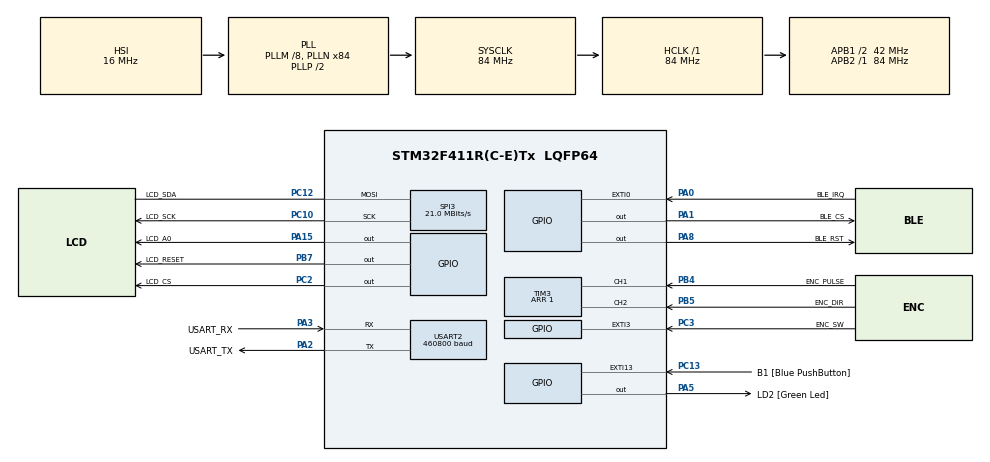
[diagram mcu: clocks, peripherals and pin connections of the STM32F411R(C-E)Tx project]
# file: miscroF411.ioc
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Dma.Request0=SPI3_TX
Dma.Request1=USART2_RX
Dma.Request2=USART2_TX
Dma.SPI3_TX.0.Direction=DMA_MEMORY_TO_PERIPH
Dma.SPI3_TX.0.FIFOMode=DMA_FIFOMODE_DISABLE
Dma.SPI3_TX.0.Instance=DMA1_Stream5
Dma.SPI3_TX.0.MemDataAlignment=DMA_MDATAALIGN_HALFWORD
Dma.SPI3_TX.0.MemInc=DMA_MINC_DISABLE
Dma.SPI3_TX.0.Mode=DMA_NORMAL
Dma.SPI3_TX.0.PeriphDataAlignment=DMA_PDATAALIGN_HALFWORD
Dma.SPI3_TX.0.PeriphInc=DMA_PINC_DISABLE
Dma.SPI3_TX.0.Priority=DMA_PRIORITY_MEDIUM
Dma.USART2_RX.1.Direction=DMA_PERIPH_TO_MEMORY
Dma.USART2_RX.1.FIFOMode=DMA_FIFOMODE_DISABLE
Dma.USART2_RX.1.Instance=DMA1_Stream7
Dma.USART2_RX.1.MemDataAlignment=DMA_MDATAALIGN_BYTE
Dma.USART2_RX.1.MemInc=DMA_MINC_ENABLE
Dma.USART2_RX.1.Mode=DMA_NORMAL
Dma.USART2_RX.1.PeriphDataAlignment=DMA_PDATAALIGN_BYTE
Dma.USART2_RX.1.PeriphInc=DMA_PINC_DISABLE
Dma.USART2_RX.1.Priority=DMA_PRIORITY_LOW
Dma.USART2_TX.2.Direction=DMA_MEMORY_TO_PERIPH
Dma.USART2_TX.2.FIFOMode=DMA_FIFOMODE_DISABLE
Dma.USART2_TX.2.Instance=DMA1_Stream6
Dma.USART2_TX.2.MemDataAlignment=DMA_MDATAALIGN_BYTE
Dma.USART2_TX.2.MemInc=DMA_MINC_ENABLE
Dma.USART2_TX.2.Mode=DMA_NORMAL
Dma.USART2_TX.2.PeriphDataAlignment=DMA_PDATAALIGN_BYTE
Dma.USART2_TX.2.PeriphInc=DMA_PINC_DISABLE
Dma.USART2_TX.2.Priority=DMA_PRIORITY_LOW
Mcu.Family=STM32F4
Mcu.Name=STM32F411R(C-E)Tx
Mcu.Package=LQFP64
NVIC.DMA1_Stream5_IRQn=true\:0\:0\:false\:false\:true\:true
NVIC.DMA1_Stream6_IRQn=true\:0\:0\:false\:false\:true\:true
NVIC.DMA1_Stream7_IRQn=true\:0\:0\:false\:false\:true\:true
NVIC.EXTI3_IRQn=true\:0\:0\:false\:true\:true\:3\:true
NVIC.PriorityGroup=NVIC_PRIORITYGROUP_0
NVIC.TIM3_IRQn=true\:0\:0\:false\:false\:true\:true
NVIC.TIM4_IRQn=true\:0\:0\:false\:true\:true\:2\:true
NVIC.USART2_IRQn=true\:0\:0\:false\:false\:true\:true
PA0-WKUP.GPIO_Label=BLE_IRQ
PA0-WKUP.Signal=GPXTI0
PA1.GPIO_Label=BLE_CS
PA1.Signal=GPIO_Output
PA13.GPIO_Label=TMS
PA13.Signal=SYS_JTMS-SWDIO
PA14.GPIO_Label=TCK
PA14.Signal=SYS_JTCK-SWCLK
PA15.GPIO_Label=LCD_A0
PA15.GPIO_Speed=GPIO_SPEED_FREQ_HIGH
PA15.PinState=GPIO_PIN_RESET
PA15.Signal=GPIO_Output
PA2.GPIO_Label=USART_TX
PA2.Mode=Asynchronous
PA2.Signal=USART2_TX
PA3.GPIO_Label=USART_RX
PA3.Mode=Asynchronous
PA3.Signal=USART2_RX
PA5.GPIO_Label=LD2 [Green Led]
PA5.GPIO_Speed=GPIO_SPEED_FREQ_HIGH
PA5.PinState=GPIO_PIN_RESET
PA5.Signal=GPIO_Output
PA6.GPIO_Label=BLE_MISO
PA6.Signal=SPI1_MISO
PA7.GPIO_Label=BLE_MOSI
PA7.Signal=SPI1_MOSI
PA8.GPIO_Label=BLE_RST
PA8.Signal=GPIO_Output
PB3.GPIO_Label=BLE_SCK
PB3.Signal=SPI1_SCK
PB4.GPIO_Label=ENC_PULSE
PB4.GPIO_PuPd=GPIO_PULLUP
PB4.GPIO_Speed=GPIO_SPEED_FREQ_HIGH
PB4.Signal=S_TIM3_CH1
PB5.GPIO_Label=ENC_DIR
PB5.GPIO_PuPd=GPIO_PULLUP
PB5.GPIO_Speed=GPIO_SPEED_FREQ_HIGH
PB5.Signal=S_TIM3_CH2
PB7.GPIO_Label=LCD_RESET
PB7.GPIO_PuPd=GPIO_PULLUP
PB7.GPIO_Speed=GPIO_SPEED_FREQ_HIGH
PB7.Signal=GPIO_Output
PC10.GPIO_Label=LCD_SCK
PC10.GPIO_Speed=GPIO_SPEED_FREQ_HIGH
PC10.Mode=Simplex_Bidirectional_Master
PC10.Signal=SPI3_SCK
PC12.GPIO_Label=LCD_SDA
PC12.GPIO_Speed=GPIO_SPEED_FREQ_HIGH
PC12.Mode=Simplex_Bidirectional_Master
PC12.Signal=SPI3_MOSI
PC13-ANTI_TAMP.GPIO_Label=B1 [Blue PushButton]
PC13-ANTI_TAMP.GPIO_ModeDefaultEXTI=GPIO_MODE_IT_FALLING
PC13-ANTI_TAMP.Signal=GPXTI13
PC14-OSC32_IN.Mode=LSE-External-Oscillator
PC14-OSC32_IN.Signal=RCC_OSC32_IN
PC15-OSC32_OUT.Mode=LSE-External-Oscillator
PC15-OSC32_OUT.Signal=RCC_OSC32_OUT
PC2.GPIO_Label=LCD_CS
PC2.GPIO_PuPd=GPIO_PULLUP
PC2.GPIO_Speed=GPIO_SPEED_FREQ_HIGH
PC2.Signal=GPIO_Output
PC3.GPIO_Label=ENC_SW
PC3.GPIO_ModeDefaultEXTI=GPIO_MODE_IT_RISING
PC3.GPIO_PuPd=GPIO_PULLUP
PC3.Signal=GPXTI3
PH0\ -\ OSC_IN.Signal=RCC_OSC_IN
PH1\ -\ OSC_OUT.Signal=RCC_OSC_OUT
ProjectManager.HeapSize=0x200
ProjectManager.StackSize=0x400
ProjectManager.TargetToolchain=SW4STM32
RCC.48MHZClocksFreq_Value=42000000
RCC.AHBFreq_Value=84000000
RCC.APB1CLKDivider=RCC_HCLK_DIV2
RCC.APB1Freq_Value=42000000
RCC.APB1TimFreq_Value=84000000
RCC.APB2Freq_Value=84000000
RCC.APB2TimFreq_Value=84000000
RCC.CortexFreq_Value=84000000
RCC.FLatency-AdvancedSettings=FLASH_LATENCY_2
RCC.HCLKFreq_Value=84000000
RCC.HSE_VALUE=8000000
RCC.HSI_VALUE=16000000
RCC.PLLM=8
RCC.PLLN=84
RCC.SYSCLKFreq_VALUE=84000000
RCC.SYSCLKSource=RCC_SYSCLKSOURCE_PLLCLK
RCC.VCOOutputFreq_Value=168000000
SH.S_TIM3_CH1.0=TIM3_CH1,Encoder_Interface
SH.S_TIM3_CH2.0=TIM3_CH2,Encoder_Interface
SPI3.BaudRatePrescaler=SPI_BAUDRATEPRESCALER_2
SPI3.CalculateBaudRate=21.0 MBits/s
SPI3.Direction=SPI_DIRECTION_1LINE
SPI3.Mode=SPI_MODE_MASTER
SPI3.VirtualType=VM_MASTER
TIM3.ClockDivision=TIM_CLOCKDIVISION_DIV2
TIM3.IC1Polarity=TIM_ICPOLARITY_FALLING
TIM3.IC2Polarity=TIM_ICPOLARITY_FALLING
TIM3.Period=1
TIM4.ClockDivision=TIM_CLOCKDIVISION_DIV2
TIM4.Period=1000
TIM4.Prescaler=42000
USART2.BaudRate=460800
USART2.VirtualMode=VM_ASYNC
VP_TIM4_VS_ClockSourceINT.Mode=Internal
board=NUCLEO-F411RE

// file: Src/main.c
/**
  ******************************************************************************
  * File Name          : main.c
  * Description        : Main program body
  ******************************************************************************
  ** This notice applies to any and all portions of this file
  * that are not between comment pairs USER CODE BEGIN and
  * USER CODE END. Other portions of this file, whether
  * inserted by the user or by software development tools
  * are owned by their respective copyright owners.
  *
  * COPYRIGHT(c) 2017 STMicroelectronics
  *
  * Redistribution and use in source and binary forms, with or without modification,
  * are permitted provided that the following conditions are met:
  *   1. Redistributions of source code must retain the above copyright notice,
  *      this list of conditions and the following disclaimer.
  *   2. Redistributions in binary form must reproduce the above copyright notice,
  *      this list of conditions and the following disclaimer in the documentation
  *      and/or other materials provided with the distribution.
  *   3. Neither the name of STMicroelectronics nor the names of its contributors
  *      may be used to endorse or promote products derived from this software
  *      without specific prior written permission.
  *
  * THIS SOFTWARE IS PROVIDED BY THE COPYRIGHT HOLDERS AND CONTRIBUTORS "AS IS"
  * AND ANY EXPRESS OR IMPLIED WARRANTIES, INCLUDING, BUT NOT LIMITED TO, THE
  * IMPLIED WARRANTIES OF MERCHANTABILITY AND FITNESS FOR A PARTICULAR PURPOSE ARE
  * DISCLAIMED. IN NO EVENT SHALL THE COPYRIGHT HOLDER OR CONTRIBUTORS BE LIABLE
  * FOR ANY DIRECT, INDIRECT, INCIDENTAL, SPECIAL, EXEMPLARY, OR CONSEQUENTIAL
  * DAMAGES (INCLUDING, BUT NOT LIMITED TO, PROCUREMENT OF SUBSTITUTE GOODS OR
  * SERVICES; LOSS OF USE, DATA, OR PROFITS; OR BUSINESS INTERRUPTION) HOWEVER
  * CAUSED AND ON ANY THEORY OF LIABILITY, WHETHER IN CONTRACT, STRICT LIABILITY,
  * OR TORT (INCLUDING NEGLIGENCE OR OTHERWISE) ARISING IN ANY WAY OUT OF THE USE
  * OF THIS SOFTWARE, EVEN IF ADVISED OF THE POSSIBILITY OF SUCH DAMAGE.
  *
  ******************************************************************************
  */
#include "main.h"
#include "stm32f4xx_hal.h"
#include "dma.h"
#include "spi.h"
#include "tim.h"
#include "usart.h"
#include "gpio.h"

/* USER CODE BEGIN Includes */
#include "st7735.h"
/* USER CODE END Includes */

/* USER CODE BEGIN PV */
/* Private variables ---------------------------------------------------------*/

/* USER CODE END PV */

void SystemClock_Config(void);
static void MX_NVIC_Init(void);

/* USER CODE BEGIN PFP */
/* Private function prototypes -----------------------------------------------*/

/* USER CODE END PFP */

/* USER CODE BEGIN 0 */
void Test(void);
/* USER CODE END 0 */

int main(void)
{

  /* MCU Configuration----------------------------------------------------------*/

  /* Reset of all peripherals, Initializes the Flash interface and the Systick. */
  HAL_Init();

  /* Configure the system clock */
  SystemClock_Config();

  /* Initialize all configured peripherals */
  MX_GPIO_Init();
  MX_DMA_Init();
  MX_SPI3_Init();
  MX_TIM4_Init();
  MX_USART2_UART_Init();
  MX_TIM3_Init();

  /* Initialize interrupts */
  MX_NVIC_Init();

  /* USER CODE BEGIN 2 */
  st7735Init();
  HAL_TIM_Base_Start_IT(&htim3);
  HAL_TIM_Base_Start_IT(&htim4);
  HAL_TIM_Encoder_Start(&htim3, TIM_CHANNEL_ALL);
  /* USER CODE END 2 */

  /* Infinite loop */
  while (1)
  {

  /* USER CODE BEGIN 3 */
	  processGUI();
	  HAL_GPIO_TogglePin(LD2_GPIO_Port, LD2_Pin);
	  HAL_Delay(200);
  }
  /* USER CODE END 3 */

}

/** System Clock Configuration
*/
void SystemClock_Config(void)
{

  RCC_OscInitTypeDef RCC_OscInitStruct;
  RCC_ClkInitTypeDef RCC_ClkInitStruct;

    /**Configure the main internal regulator output voltage
    */
  __HAL_RCC_PWR_CLK_ENABLE();

  __HAL_PWR_VOLTAGESCALING_CONFIG(PWR_REGULATOR_VOLTAGE_SCALE1);

    /**Initializes the CPU, AHB and APB busses clocks
    */
  RCC_OscInitStruct.OscillatorType = RCC_OSCILLATORTYPE_HSI;
  RCC_OscInitStruct.HSIState = RCC_HSI_ON;
  RCC_OscInitStruct.HSICalibrationValue = 16;
  RCC_OscInitStruct.PLL.PLLState = RCC_PLL_ON;
  RCC_OscInitStruct.PLL.PLLSource = RCC_PLLSOURCE_HSI;
  RCC_OscInitStruct.PLL.PLLM = 8;
  RCC_OscInitStruct.PLL.PLLN = 84;
  RCC_OscInitStruct.PLL.PLLP = RCC_PLLP_DIV2;
  RCC_OscInitStruct.PLL.PLLQ = 4;
  if (HAL_RCC_OscConfig(&RCC_OscInitStruct) != HAL_OK)
  {
    _Error_Handler(__FILE__, __LINE__);
  }

    /**Initializes the CPU, AHB and APB busses clocks
    */
  RCC_ClkInitStruct.ClockType = RCC_CLOCKTYPE_HCLK|RCC_CLOCKTYPE_SYSCLK
                              |RCC_CLOCKTYPE_PCLK1|RCC_CLOCKTYPE_PCLK2;
  RCC_ClkInitStruct.SYSCLKSource = RCC_SYSCLKSOURCE_PLLCLK;
  RCC_ClkInitStruct.AHBCLKDivider = RCC_SYSCLK_DIV1;
  RCC_ClkInitStruct.APB1CLKDivider = RCC_HCLK_DIV2;
  RCC_ClkInitStruct.APB2CLKDivider = RCC_HCLK_DIV1;

  if (HAL_RCC_ClockConfig(&RCC_ClkInitStruct, FLASH_LATENCY_2) != HAL_OK)
  {
    _Error_Handler(__FILE__, __LINE__);
  }

    /**Configure the Systick interrupt time
    */
  HAL_SYSTICK_Config(HAL_RCC_GetHCLKFreq()/1000);

    /**Configure the Systick
    */
  HAL_SYSTICK_CLKSourceConfig(SYSTICK_CLKSOURCE_HCLK);

  /* SysTick_IRQn interrupt configuration */
  HAL_NVIC_SetPriority(SysTick_IRQn, 0, 0);
}

/** NVIC Configuration
*/
static void MX_NVIC_Init(void)
{
  /* TIM4_IRQn interrupt configuration */
  HAL_NVIC_SetPriority(TIM4_IRQn, 0, 0);
  HAL_NVIC_EnableIRQ(TIM4_IRQn);
  /* EXTI3_IRQn interrupt configuration */
  HAL_NVIC_SetPriority(EXTI3_IRQn, 0, 0);
  HAL_NVIC_EnableIRQ(EXTI3_IRQn);
}

/* USER CODE BEGIN 4 */
void Test(void)
{
	  st7735FillRect(0, 0, 128, 160, 0);
	  st7735FillRect(20, 20, 20, 20, 0x0000FF);
	  st7735FillRect(20, 50, 20, 20, 0x00FF00);
	  st7735FillRect(20, 80, 20, 20, 0x00F000);
	  st7735DrawRect(1, 1, 126, 158, 0xFC00, 1);

	  st7735DrawText(112, 20, "miscroLab", 0x00FF, 0);

	  st7735FillRect(90, 20, 20, 20, 1024);     // GREEN
	  st7735FillRect(90, 50, 20, 20, 31);   	// RED
	  st7735FillRect(90, 80, 20, 20, 31+1024);	// YELLOW

}

/* USER CODE END 4 */

void _Error_Handler(char * file, int line)
{
  while(1)
  {
  }
}

/************************ (C) COPYRIGHT STMicroelectronics *****END OF FILE****/
